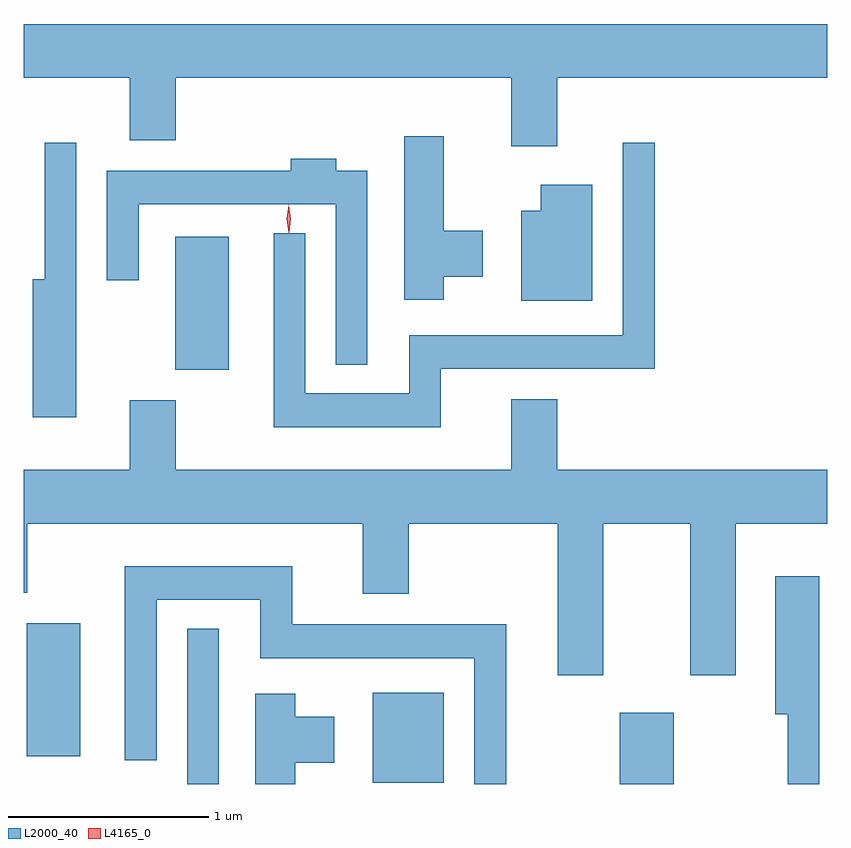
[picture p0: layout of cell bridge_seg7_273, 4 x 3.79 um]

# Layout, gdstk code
import gdstk
lib = gdstk.Library(unit=1e-6, precision=1e-09)
def R(c, l, rs):  # rectangles x0, y0, x1, y1
    for r in rs: c.add(gdstk.rectangle(r[:2], r[2:], *l))
def P(c, l, *ps):  # polygons
    for p in ps: c.add(gdstk.Polygon(p, *l))
L2000_40 = (2000, 40)
L4165_0 = (4165, 0)

bridge_seg7_273 = lib.new_cell('bridge_seg7_273')
R(bridge_seg7_273, L2000_40, [(1257.246,1801.819,1257.404,1802.593), (1259.401,1801.819,1259.669,1802.174), (1258.171,1801.826,1258.524,1802.274), (1256.446,1801.956,1256.714,1802.619), (1257.186,1803.881,1257.454,1804.544)])
P(bridge_seg7_273, L2000_40, [(1259.089,1805.336),(1260.433,1805.336),(1260.433,1805.604),(1256.433,1805.604),(1256.433,1805.336),(1256.961,1805.336),(1256.961,1805.026),(1257.189,1805.026),(1257.189,1805.336),(1258.861,1805.336),(1258.861,1804.996),(1259.089,1804.996)],
  [(1258.524,1804.346),(1258.719,1804.346),(1258.719,1804.574),(1258.524,1804.574),(1258.524,1805.044),(1258.326,1805.044),(1258.326,1804.231),(1258.524,1804.231)],
  [(1256.694,1805.013),(1256.536,1805.013),(1256.536,1804.334),(1256.476,1804.334),(1256.476,1803.646),(1256.694,1803.646)],
  [(1258.509,1803.886),(1259.574,1803.886),(1259.574,1805.013),(1259.416,1805.013),(1259.416,1804.054),(1258.351,1804.054),(1258.351,1803.764),(1257.834,1803.764),(1257.834,1804.563),(1257.676,1804.563),(1257.676,1803.596),(1258.509,1803.596)],
  [(1258.144,1804.874),(1257.989,1804.874),(1257.989,1804.934),(1257.761,1804.934),(1257.761,1804.874),(1256.846,1804.874),(1256.846,1804.328),(1257.004,1804.328),(1257.004,1804.706),(1257.986,1804.706),(1257.986,1803.908),(1258.144,1803.908)],
  [(1259.264,1804.804),(1259.006,1804.804),(1259.006,1804.674),(1258.911,1804.674),(1258.911,1804.226),(1259.264,1804.226)],
  [(1259.319,1803.116),(1259.751,1803.116),(1259.751,1802.361),(1259.979,1802.361),(1259.979,1803.116),(1260.433,1803.116),(1260.433,1803.384),(1259.089,1803.384),(1259.089,1803.734),(1258.861,1803.734),(1258.861,1803.384),(1257.189,1803.384),(1257.189,1803.729),(1256.961,1803.729),(1256.961,1803.384),(1256.433,1803.384),(1256.433,1802.771),(1256.449,1802.771),(1256.449,1803.116),(1258.121,1803.116),(1258.121,1802.766),(1258.349,1802.766),(1258.349,1803.116),(1259.091,1803.116),(1259.091,1802.361),(1259.319,1802.361)],
  [(1258.834,1802.614),(1257.769,1802.614),(1257.769,1802.904),(1256.936,1802.904),(1256.936,1801.938),(1257.094,1801.938),(1257.094,1802.736),(1257.611,1802.736),(1257.611,1802.446),(1258.676,1802.446),(1258.676,1801.819),(1258.834,1801.819)],
  [(1260.394,1802.854),(1260.176,1802.854),(1260.176,1802.166),(1260.236,1802.166),(1260.236,1801.819),(1260.394,1801.819)],
  [(1257.784,1801.926),(1257.979,1801.926),(1257.979,1802.154),(1257.784,1802.154),(1257.784,1802.269),(1257.586,1802.269),(1257.586,1801.819),(1257.784,1801.819)])
P(bridge_seg7_273, L4165_0, [(1257.753,1804.563),(1257.752,1804.564),(1257.743,1804.633),(1257.752,1804.702),(1257.753,1804.703),(1257.753,1804.702),(1257.763,1804.633),(1257.753,1804.564)],
  [(1257.753,1804.567),(1257.752,1804.568),(1257.743,1804.634),(1257.752,1804.7),(1257.753,1804.7),(1257.753,1804.7),(1257.763,1804.634),(1257.754,1804.568)])

lib.write_gds('bridge_seg7_273.gds')
